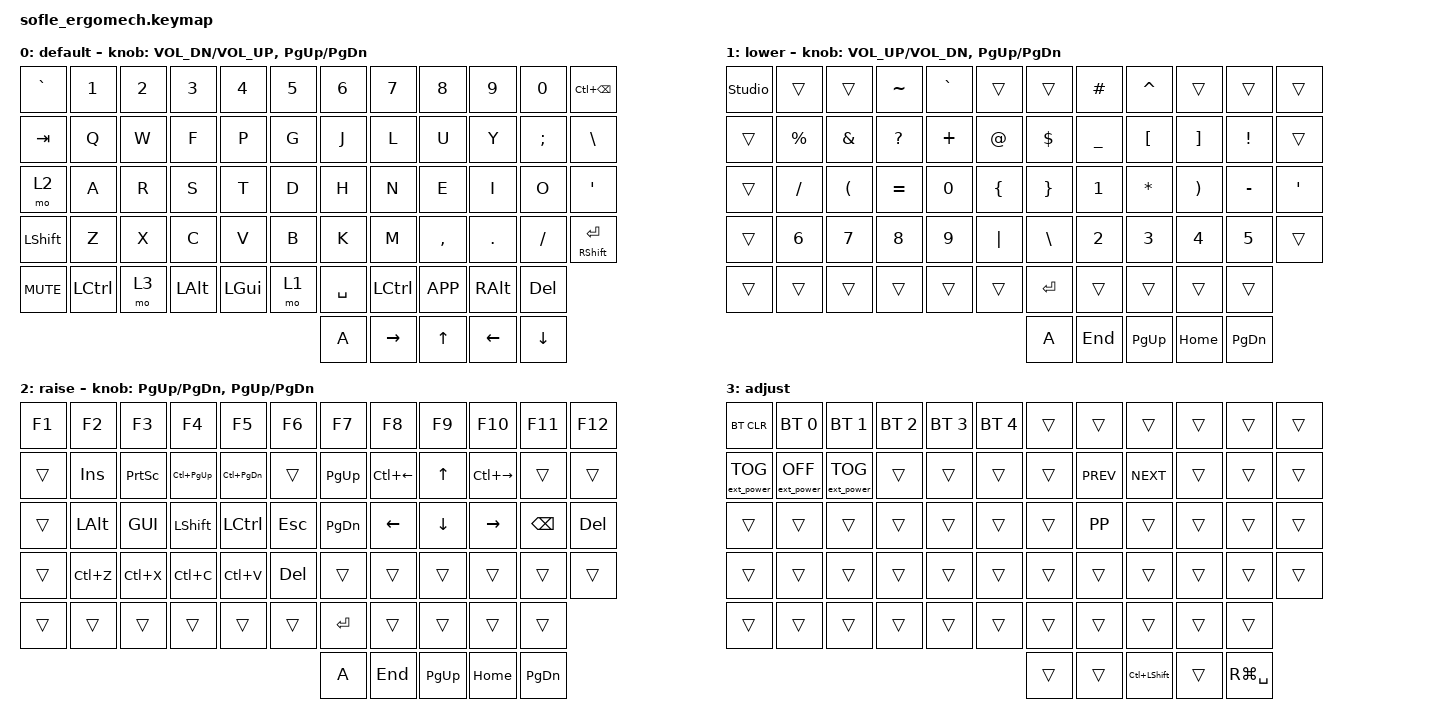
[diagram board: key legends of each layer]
/*
 * Copyright (c) 2020 The ZMK Contributors
 *
 * SPDX-License-Identifier: MIT
 */

#include <behaviors.dtsi>
#include <dt-bindings/zmk/bt.h>
#include <dt-bindings/zmk/ext_power.h>
#include <dt-bindings/zmk/keys.h>

#define BASE 0
#define LOWER 1
#define RAISE 2
#define ADJUST 3

/ {
    // Activate ADJUST layer by pressing raise and lower

    conditional_layers { compatible = "zmk,conditional-layers"; };

    keymap {
        compatible = "zmk,keymap";

        default_layer {
            label = "default";

            // ------------------------------------------------------------------------------------------------------------
            // |   `   |  1  |  2  |  3   |  4   |  5   |                   |  6   |  7    |  8    |  9   |   0   |       |
            // |  ESC  |  Q  |  W  |  E   |  R   |  T   |                   |  Y   |  U    |  I    |  O   |   P   | BKSPC |
            // |  TAB  |  A  |  S  |  D   |  F   |  G   |                   |  H   |  J    |  K    |  L   |   ;   |   '   |
            // | SHIFT |  Z  |  X  |  C   |  V   |  B   |  MUTE  |  |       |  N   |  M    |  ,    |  .   |   /   | SHIFT |
            //               | GUI | ALT  | CTRL | LOWER|  ENTER |  | SPACE | RAISE| CTRL  | ALT   | GUI  |

            bindings = <
&kp GRAVE   &kp N1      &kp N2     &kp N3  &kp N4    &kp N5    &kp N6  &kp N7     &kp N8           &kp N9        &kp N0          &kp LC(BACKSPACE)
&kp TAB     &kp Q      &kp W   &kp F     &kp P     &kp G   &kp J      &kp L            &kp U         &kp Y           &kp SEMI           &kp BSLH
&mo 2       &kp A      &kp R   &kp S     &kp T     &kp D   &kp H      &kp N            &kp E         &kp I           &kp O              &kp SQT
&kp LSHIFT  &kp Z      &kp X   &kp C     &kp V     &kp B   &kp K      &kp M            &kp COMMA     &kp DOT         &kp FSLH           &mt RSHFT RET
&kp C_MUTE  &kp LCTRL  &mo 3   &kp LALT  &kp LGUI  &mo 1   &kp SPACE  &kp LCTRL        &kp K_APP     &kp RALT        &kp DELETE
                                                           &kp A      &kp RIGHT_ARROW  &kp UP_ARROW  &kp LEFT_ARROW  &kp DOWN_ARROW
            >;

            sensor-bindings =
                <&inc_dec_kp C_VOL_DN C_VOLUME_UP>,
                <&inc_dec_kp PG_UP PG_DN>;
        };

        lower_layer {
            label = "lower";

            // TODO: Some binds are waiting for shifted keycode support.
            // ------------------------------------------------------------------------------------------------------------
            // |       |  F1 |  F2 |  F3  |  F4  |  F5  |                   |  F6  |  F7   |  F8   |  F9  |  F10  |  F11  |
            // |   `   |  1  |  2  |  3   |  4   |  5   |                   |  6   |  7    |  8    |  9   |   0   |  F12  |
            // |       |  !  |  @  |  #   |  $   |  %   |                   |  ^   |  &    |  *    |  (   |   )   |   |   |
            // |       |  =  |  -  |  +   |  {   |  }   |        |  |       |  [   |  ]    |  ;    |  :   |   \   |       |
            //               |     |      |      |      |        |  |       |      |       |       |      |

            bindings = <
&studio_unlock  &trans     &trans    &kp TILDE  &kp GRAVE  &trans    &trans         &kp HASH   &kp CARET    &trans    &trans         &trans
&trans  &kp PRCNT  &kp AMPS  &kp QMARK  &kp PLUS   &kp AT    &kp DLLR       &kp UNDER  &kp LBKT     &kp RBKT  &kp EXCL       &trans
&trans  &kp FSLH   &kp LPAR  &kp EQUAL  &kp N0     &kp LBRC  &kp RBRC       &kp N1     &kp STAR     &kp RPAR  &kp MINUS      &kp SQT
&trans  &kp N6     &kp N7    &kp N8     &kp N9     &kp PIPE  &kp BACKSLASH  &kp N2     &kp N3       &kp N4    &kp N5         &trans
&trans  &trans     &trans    &trans     &trans     &trans    &kp RET        &trans     &trans       &trans    &trans
                                                             &kp A          &kp END    &kp PAGE_UP  &kp HOME  &kp PAGE_DOWN
            >;

            sensor-bindings = <&inc_dec_kp C_VOL_UP C_VOL_DN &inc_dec_kp PG_UP PG_DN>;
        };

        raise_layer {
            label = "raise";

            // ------------------------------------------------------------------------------------------------------------
            // | BTCLR | BT1  | BT2  |  BT3  |  BT4  |  BT5 |                |      |      |       |      |       |       |
            // |       | INS  | PSCR | GUI   |       |      |                | PGUP |      |   ^   |      |       |       |
            // |       | ALT  | CTRL | SHIFT |       | CAPS |                | PGDN |   <- |   v   |  ->  |  DEL  | BKSPC |
            // |       | UNDO | CUT  | COPY  | PASTE |      |      |  |      |      |      |       |      |       |       |
            //                |      |       |       |      |      |  |      |      |      |       |      |

            bindings = <
&kp F1  &kp F2     &kp F3     &kp F4         &kp F5         &kp F6   &kp F7     &kp F8              &kp F9     &kp F10              &kp F11    &kp F12
&trans  &kp INS    &kp PSCRN  &kp LC(PG_UP)  &kp LC(PG_DN)  &trans   &kp PG_UP  &kp LC(LEFT_ARROW)  &kp UP     &kp LC(RIGHT_ARROW)  &trans     &trans
&trans  &kp LALT   &kp GUI    &kp LSHFT      &kp LCTRL      &kp ESC  &kp PG_DN  &kp LEFT            &kp DOWN   &kp RIGHT            &kp BSPC   &kp DEL
&trans  &kp LC(Z)  &kp LC(X)  &kp LC(C)      &kp LC(V)      &kp DEL   &trans     &trans              &trans     &trans               &trans     &trans
&trans  &trans     &trans     &trans         &trans         &trans   &kp RET    &trans              &trans     &trans               &trans
                                                                     &kp A      &kp END             &kp PG_UP  &kp HOME             &kp PG_DN
            >;

            sensor-bindings =
                <&inc_dec_kp PG_UP PAGE_DOWN>,
                <&inc_dec_kp PG_UP PG_DN>;
        };

        adjust_layer {
            // ----------------------------------------------------------------------------------------------------------------------------
            // | BTCLR  |  BT1    |  BT2    |   BT3   |   BT4   |   BT5   |                  |      |      |       |      |       |       |
            // | EXTPWR | RGB_HUD | RGB_HUI | RGB_SAD | RGB_SAI | RGB_EFF |                  |      |      |       |      |       |       |
            // |        | RGB_BRD | RGB_BRI |         |         |         |                  |      |      |       |      |       |       |
            // |        |         |         |         |         |         | RGB_TOG | |      |      |      |       |      |       |       |
            //                    |         |         |         |         |         | |      |      |      |       |      |

            label = "adjust";
            bindings = <
&bt BT_CLR         &bt BT_SEL 0       &bt BT_SEL 1       &bt BT_SEL 2  &bt BT_SEL 3  &bt BT_SEL 4  &trans  &trans      &trans              &trans  &trans         &trans
&ext_power EP_TOG  &ext_power EP_OFF  &ext_power EP_TOG  &trans        &trans        &trans        &trans  &kp K_PREV  &kp K_NEXT          &trans  &trans         &trans
&trans             &trans             &trans             &trans        &trans        &trans        &trans  &kp K_PP    &trans              &trans  &trans         &trans
&trans             &trans             &trans             &trans        &trans        &trans        &trans  &trans      &trans              &trans  &trans         &trans
&trans             &trans             &trans             &trans        &trans        &trans        &trans  &trans      &trans              &trans  &trans
                                                                                                   &trans  &trans      &kp LC(LEFT_SHIFT)  &trans  &kp RG(SPACE)
            >;
        };
    };
};
